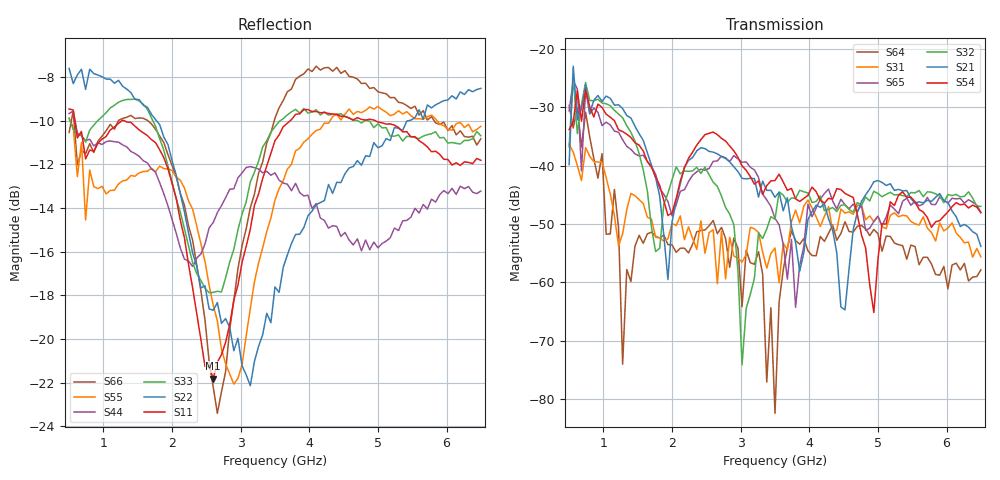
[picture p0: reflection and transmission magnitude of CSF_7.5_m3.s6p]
!Keysight Technologies,M9804A,MY58100912,A.14.10.03
!Date: Thursday, April 27, 2023 10:28:33
!Correction: S11(C  6-Port  )
!S12(C  6-Port  )
!S13(C  6-Port  )
!S14(C  6-Port  )
!S15(C  6-Port  )
!S16(C  6-Port  )
!S21(C  6-Port  )
!S22(C  6-Port  )
!S23(C  6-Port  )
!S24(C  6-Port  )
!S25(C  6-Port  )
!S26(C  6-Port  )
!S31(C  6-Port  )
!S32(C  6-Port  )
!S33(C  6-Port  )
!S34(C  6-Port  )
!S35(C  6-Port  )
!S36(C  6-Port  )
!S41(C  6-Port  )
!S42(C  6-Port  )
!S43(C  6-Port  )
!S44(C  6-Port  )
!S45(C  6-Port  )
!S46(C  6-Port  )
!S51(C  6-Port  )
!S52(C  6-Port  )
!S53(C  6-Port  )
!S54(C  6-Port  )
!S55(C  6-Port  )
!S56(C  6-Port  )
!S61(C  6-Port  )
!S62(C  6-Port  )
!S63(C  6-Port  )
!S64(C  6-Port  )
!S65(C  6-Port  )
!S66(C  6-Port  )
!S6P File: Measurement: :
# Hz S  RI  R 50
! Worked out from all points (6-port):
!   101 points, 500 MHz to 6.5 GHz, reference 50 ohm
!   strongest paths, dB at 500 MHz, 2 GHz, 3.5 GHz, 5 GHz, 6.5 GHz:
!     S54: -33.8, -48.1, -42.5, -56.1, -48.1
!     S21: -39.8, -49.7, -45.4, -42.6, -53.8
!     S32: -36.8, -42.4, -49.2, -44.8, -47.0
!     S65: -30.6, -48.6, -49.0, -48.7, -48.0
!     S31: -36.4, -49.9, -54.1, -48.7, -55.6
!     S64: -29.7, -53.6, -82.4, -51.7, -57.8
!   lowest |S11| = -21.8 dB at 2.6 GHz (marker M1), VSWR 1.18, Z = 42.7 + j1.96 ohm
!   |S11| at or under -10 dB: 582.7 MHz to 1.272 GHz (688.8 MHz wide, 74.3 % of centre); 1.295 GHz to 3.725 GHz (2.43 GHz wide, 96.8 % of centre); 4.957 GHz to end of sweep
